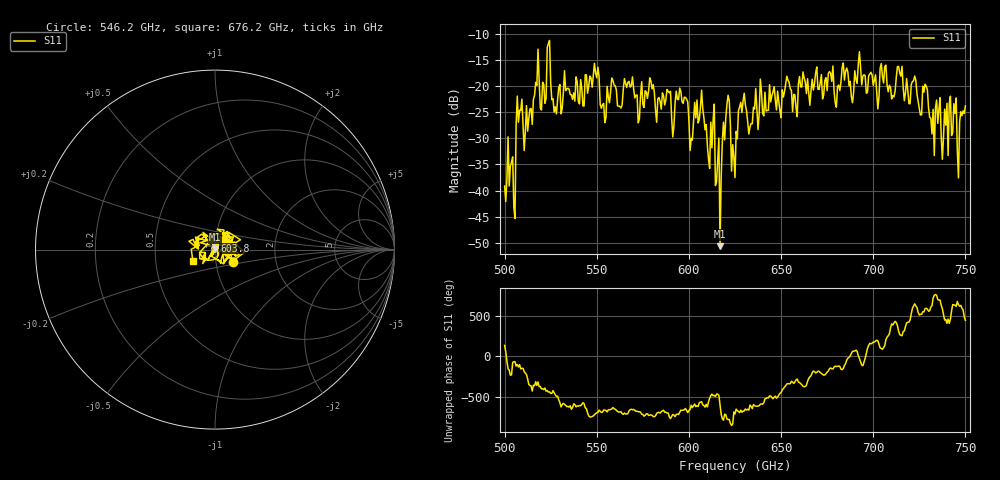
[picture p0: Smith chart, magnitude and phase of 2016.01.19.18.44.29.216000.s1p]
!Created with skrf (http://scikit-rf.org).
# GHz S RI R 50.0
!freq ReS11 ImS11
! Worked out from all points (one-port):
!   401 points, 500 GHz to 750 GHz, reference 50 ohm
!   lowest |S11| = -50.7 dB at 616.9 GHz (marker M1), VSWR 1.01, Z = 49.9 + j0.268 ohm
!   |S11| at or under -10 dB: start of sweep to end of sweep
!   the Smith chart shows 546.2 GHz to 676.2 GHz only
!   S11 on the Smith chart (normalised r, x): 546.2 GHz: 1.22, -0.18; 603.8 GHz: 0.99, +0.10; 676.2 GHz: 0.78, -0.10
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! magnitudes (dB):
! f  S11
! 500 GHz  -39.1
! 504.4 GHz  -33.5
! 508.1 GHz  -24.6
! 511.9 GHz  -23.7
! 517.5 GHz  -19.8
! 520.6 GHz  -19.2
! 524.4 GHz  -11.2
! 526.9 GHz  -25.0
! 531.2 GHz  -24.3
! 546.2 GHz  -18.1
! 562.5 GHz  -23.9
! 566.2 GHz  -20.3
! 593.8 GHz  -22.5
! 601.2 GHz  -30.0
! 603.8 GHz  -26.1
! 616.9 GHz  -50.7
! 621.2 GHz  -21.7
! 625 GHz  -37.5
! 628.8 GHz  -25.1
! 633.1 GHz  -27.8
! 656.2 GHz  -24.9
! 676.2 GHz  -17.2
! 687.5 GHz  -19.1
! 714.4 GHz  -17.4
! 718.8 GHz  -20.8
! 728.1 GHz  -19.6
! 738.1 GHz  -29.7
! 750 GHz  -23.8
